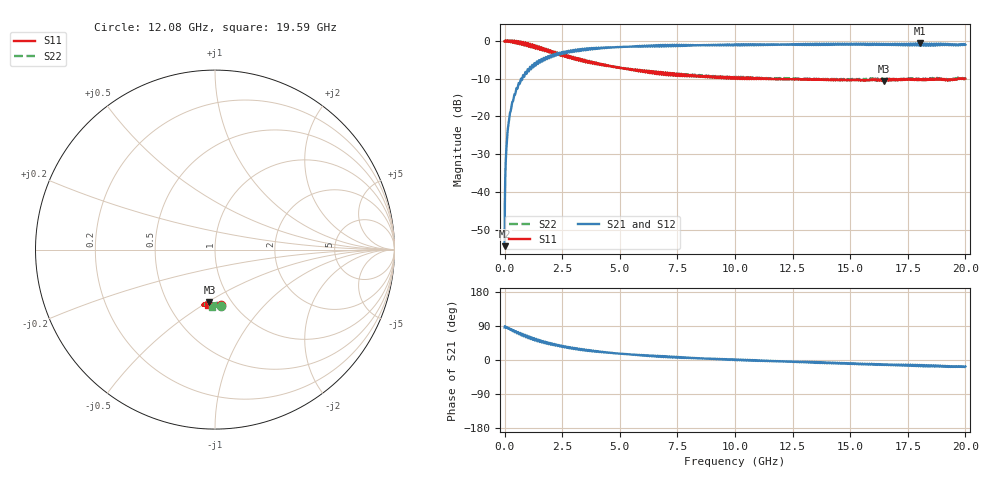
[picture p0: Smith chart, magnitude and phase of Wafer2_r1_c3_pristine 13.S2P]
!  2-Port S-parameters saved by WinCal
! VAR MeasName=S-Parameters (CALIBRATED_DATA) read from VNA (P5004A)
! VAR MeasDate=24/04/2024 16:14:13
! VAR NAME=Wafer2_r1_c3_pristine 13
! VAR FILENAME=Wafer2_r1_c3_pristine 13.S2P
! VAR DATE=24/04/2024 16:14:13
! VAR PHYS_PORTS=1,2
! VAR ObjTypeName=DATASET
! VAR IndexType=Frequency
# Hz S MA R 50
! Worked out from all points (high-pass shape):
!   4999 points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, 4.01 MHz to 20 GHz, reference 50 ohm
!   highest |S21| = -0.64 dB at 18.04 GHz (marker M1); lowest = -54.4 dB at 4.01 MHz (marker M2)
!   |S21| within 3 dB of the highest: 2.253 GHz to 2.32 GHz (67.05 MHz wide, 2.93 % of centre); 2.339 GHz to end of sweep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
!   lowest |S11| = -10.6 dB at 16.48 GHz (marker M3), VSWR 1.84, Z = 39.7 - j25.6 ohm
!   |S11| at or under -10 dB: 11.81 GHz to 18.46 GHz (6.646 GHz wide, 43.9 % of centre); 18.46635 GHz to 18.55805 GHz (91.7 MHz wide, 0.495 % of centre); 18.97 GHz to 19.68 GHz (712.9 MHz wide, 3.69 % of centre)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
!   |S22| runs from -10.5 to 0.1 dB; largest |S21 - S12| = 0.016
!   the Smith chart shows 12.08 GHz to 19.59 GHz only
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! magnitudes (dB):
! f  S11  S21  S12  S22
! 4.01 MHz  -0.1  -54.4  -54.3  -0.1
! 48.02 MHz  0.1  -32.7  -32.8  0.1
! 108 MHz  -0.1  -26.1  -26.0  -0.1
! 140 MHz  0.1  -23.6  -23.6  0.1
! 180 MHz  -0.2  -21.9  -21.8  -0.2
! 248.1 MHz  -0.1  -18.9  -19.0  0.0
! 348.1 MHz  -0.2  -16.1  -16.2  -0.2
! 464.1 MHz  -0.6  -14.1  -14.1  -0.6
! 624.1 MHz  -0.1  -11.1  -11.1  -0.2
! 828.2 MHz  -0.6  -9.2  -9.2  -0.6
! 1.036 GHz  -1.2  -8.0  -7.9  -1.2
! 1.56 GHz  -2.2  -5.5  -5.5  -2.2
! 2.356 GHz  -3.4  -3.4  -3.4  -3.5
! 3.341 GHz  -5.2  -2.4  -2.4  -5.2
! 4.913 GHz  -7.1  -1.6  -1.6  -7.0
! 6.673 GHz  -8.1  -1.1  -1.1  -8.2
! 10 GHz  -9.9  -1.1  -1.2  -9.9
! 13.33 GHz  -10.1  -1.0  -1.0  -9.9
! 16.48 GHz  -10.6  -0.9  -0.9  -10.0
! 16.67 GHz  -10.5  -0.9  -0.9  -10.1
! 18.04 GHz  -10.3  -0.6  -0.6  -10.4
! 20 GHz  -10.0  -1.0  -1.0  -10.0
